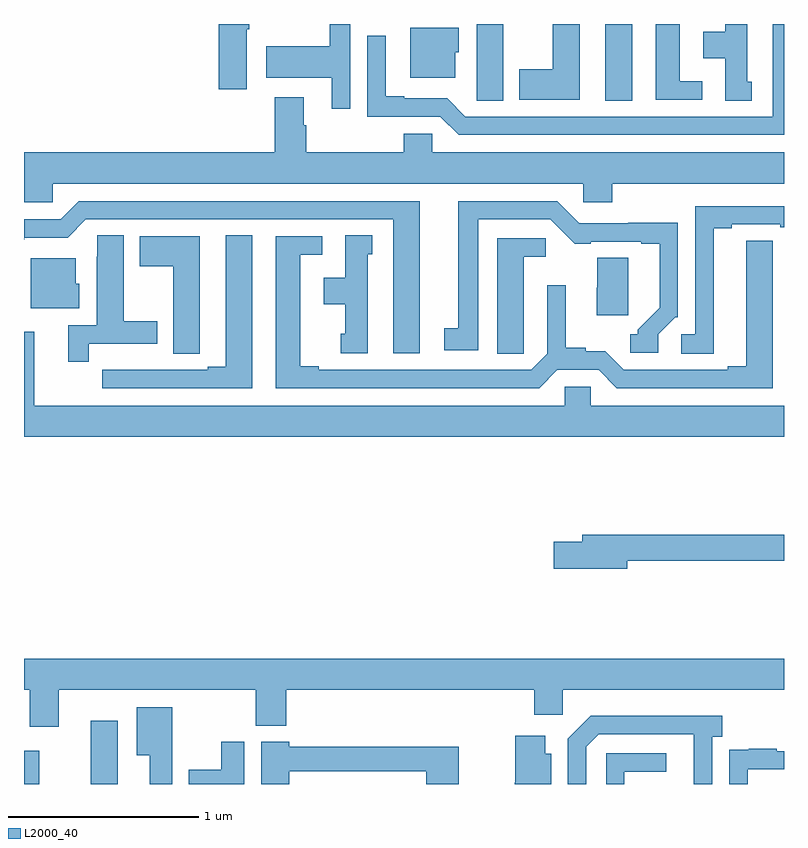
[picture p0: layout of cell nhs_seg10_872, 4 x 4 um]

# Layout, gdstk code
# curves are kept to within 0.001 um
import gdstk
lib = gdstk.Library(unit=1e-6, precision=1e-09)
def R(c, l, rs):  # rectangles x0, y0, x1, y1
    for r in rs: c.add(gdstk.rectangle(r[:2], r[2:], *l))
def P(c, l, *ps):  # polygons
    for p in ps: c.add(gdstk.Polygon(p, *l))
L2000_40 = (2000, 40)

nhs_seg10_872 = lib.new_cell('nhs_seg10_872')
R(nhs_seg10_872, L2000_40, [(155,1286.5,155.08,1286.674), (155.351,1286.5,155.494,1286.833), (158.06,1290.097,158.2,1290.5)])
P(nhs_seg10_872, L2000_40, [(158.83,1290.195),(158.806,1290.195),(158.806,1290.5),(158.69,1290.5),(158.69,1290.46),(158.576,1290.46),(158.576,1290.32),(158.69,1290.32),(158.69,1290.097),(158.83,1290.097)],
  [(158.569,1290.198),(158.452,1290.198),(158.452,1290.5),(158.324,1290.5),(158.324,1290.102),(158.569,1290.102)],
  [(156.172,1290.473),(156.186,1290.473),(156.186,1290.5),(156.026,1290.5),(156.026,1290.156),(156.172,1290.156)],
  [(157.522,1290.5),(157.382,1290.5),(157.382,1290.208),(157.383,1290.208),(157.383,1290.097),(157.522,1290.097)],
  [(156.717,1290.5),(156.609,1290.5),(156.609,1290.384),(156.276,1290.384),(156.276,1290.218),(156.62,1290.218),(156.62,1290.054),(156.717,1290.054)],
  [(157.924,1290.5),(157.784,1290.5),(157.784,1290.261),(157.607,1290.261),(157.607,1290.101),(157.924,1290.101)],
  [(159,1290.5),(158.942,1290.5),(158.942,1290.012),(157.323,1290.012),(157.227,1290.108),(157,1290.108),(157,1290.121),(156.904,1290.121),(156.904,1290.439),(156.807,1290.439),(156.807,1290.012),(157.191,1290.012),(157.287,1289.916),(159,1289.916)],
  [(157.27,1290.351),(157.288,1290.351),(157.288,1290.481),(157.034,1290.481),(157.034,1290.218),(157.27,1290.218)],
  [(155.151,1289.66),(157.944,1289.66),(157.944,1289.562),(158.096,1289.562),(158.096,1289.66),(159,1289.66),(159,1289.824),(157.149,1289.824),(157.149,1289.922),(156.998,1289.922),(156.998,1289.824),(156.485,1289.824),(156.485,1289.966),(156.472,1289.966),(156.472,1290.115),(156.32,1290.115),(156.32,1289.824),(155,1289.824),(155,1289.562),(155.151,1289.562)],
  [(158.337,1288.866),(158.427,1288.956),(158.442,1288.956),(158.442,1289.453),(158.179,1289.453),(158.179,1289.451),(157.923,1289.451),(157.806,1289.568),(157.286,1289.568),(157.286,1288.898),(157.212,1288.898),(157.212,1288.782),(157.39,1288.782),(157.39,1289.472),(157.77,1289.472),(157.898,1289.344),(157.984,1289.344),(157.984,1289.355),(158.249,1289.355),(158.249,1289.343),(158.345,1289.343),(158.345,1289.006),(158.229,1288.89),(158.229,1288.866),(158.19,1288.866),(158.19,1288.77),(158.337,1288.77)],
  [(157.084,1289.568),(155.289,1289.568),(155.193,1289.472),(155,1289.472),(155,1289.364),(155.002,1289.364),(155.002,1289.376),(155.229,1289.376),(155.325,1289.472),(156.944,1289.472),(156.944,1288.767),(157.084,1288.767)],
  [(158.629,1289.425),(158.725,1289.425),(158.725,1289.445),(158.981,1289.445),(158.981,1289.43),(159,1289.43),(159,1289.541),(158.532,1289.541),(158.532,1288.866),(158.46,1288.866),(158.46,1288.765),(158.629,1288.765)],
  [(155.342,1288.818),(155.701,1288.818),(155.701,1288.935),(155.524,1288.935),(155.524,1289.387),(155.385,1289.387),(155.385,1289.276),(155.384,1289.276),(155.384,1288.914),(155.234,1288.914),(155.234,1288.722),(155.342,1288.722)],
  [(156.808,1289.289),(156.832,1289.289),(156.832,1289.387),(156.692,1289.387),(156.692,1289.164),(156.578,1289.164),(156.578,1289.024),(156.692,1289.024),(156.692,1288.869),(156.668,1288.869),(156.668,1288.767),(156.808,1288.767)],
  [(156.202,1289.387),(156.062,1289.387),(156.062,1288.695),(155.966,1288.695),(155.966,1288.68),(155.69,1288.68),(155.69,1288.681),(155.524,1288.681),(155.524,1288.68),(155.412,1288.68),(155.412,1288.584),(156.202,1288.584)],
  [(155.925,1288.873),(155.926,1288.873),(155.926,1289.383),(155.609,1289.383),(155.609,1289.224),(155.786,1289.224),(155.786,1288.765),(155.925,1288.765)],
  [(157.807,1288.68),(158.025,1288.68),(158.121,1288.584),(158.941,1288.584),(158.94,1289.36),(158.801,1289.36),(158.801,1288.7),(158.705,1288.7),(158.705,1288.68),(158.157,1288.68),(158.06,1288.778),(157.956,1288.778),(157.956,1288.796),(157.852,1288.796),(157.852,1289.125),(157.755,1289.125),(157.755,1288.764),(157.671,1288.68),(156.55,1288.68),(156.55,1288.7),(156.454,1288.7),(156.454,1289.286),(156.571,1289.286),(156.571,1289.382),(156.326,1289.382),(156.326,1288.584),(157.711,1288.584)],
  [(157.629,1288.873),(157.63,1288.873),(157.63,1289.276),(157.747,1289.276),(157.747,1289.373),(157.49,1289.373),(157.49,1288.765),(157.629,1288.765)],
  [(158.179,1289.27),(158.017,1289.27),(158.017,1289.112),(158.015,1289.112),(158.015,1288.968),(158.179,1288.968)],
  [(155.29,1289.133),(155.272,1289.133),(155.272,1289.266),(155.036,1289.266),(155.036,1289.003),(155.29,1289.003)],
  [(159,1288.492),(157.983,1288.492),(157.983,1288.59),(157.845,1288.59),(157.845,1288.492),(155.054,1288.492),(155.054,1288.879),(155,1288.879),(155,1288.328),(159,1288.328)],
  [(158.176,1287.676),(159,1287.676),(159,1287.812),(157.937,1287.812),(157.937,1287.776),(157.788,1287.776),(157.788,1287.634),(158.176,1287.634)],
  [(155.182,1286.996),(156.22,1286.996),(156.22,1286.807),(156.38,1286.807),(156.38,1286.996),(157.685,1286.996),(157.685,1286.865),(157.836,1286.865),(157.836,1286.996),(159,1286.996),(159,1287.16),(155,1287.16),(155,1286.996),(155.03,1286.996),(155.03,1286.802),(155.182,1286.802)],
  [(155.779,1286.905),(155.594,1286.905),(155.594,1286.651),(155.663,1286.651),(155.663,1286.5),(155.779,1286.5)],
  [(157.959,1286.697),(158.025,1286.763),(158.525,1286.763),(158.526,1286.5),(158.622,1286.5),(158.622,1286.75),(158.674,1286.75),(158.674,1286.86),(157.984,1286.86),(157.863,1286.739),(157.863,1286.5),(157.959,1286.5)],
  [(157.774,1286.659),(157.744,1286.659),(157.744,1286.755),(157.586,1286.755),(157.586,1286.506),(157.582,1286.506),(157.582,1286.5),(157.774,1286.5)],
  [(156.395,1286.566),(157.118,1286.566),(157.118,1286.5),(157.288,1286.5),(157.288,1286.695),(156.395,1286.695),(156.395,1286.722),(156.248,1286.722),(156.248,1286.5),(156.395,1286.5)],
  [(156.16,1286.722),(156.038,1286.722),(156.038,1286.575),(155.867,1286.575),(155.867,1286.5),(156.16,1286.5)],
  [(158.808,1286.577),(159,1286.577),(159,1286.673),(158.963,1286.673),(158.963,1286.686),(158.815,1286.686),(158.815,1286.679),(158.713,1286.679),(158.713,1286.57),(158.712,1286.57),(158.712,1286.5),(158.808,1286.5)],
  [(158.16,1286.565),(158.38,1286.565),(158.38,1286.661),(158.064,1286.661),(158.064,1286.5),(158.16,1286.5)])

lib.write_gds('nhs_seg10_872.gds')
